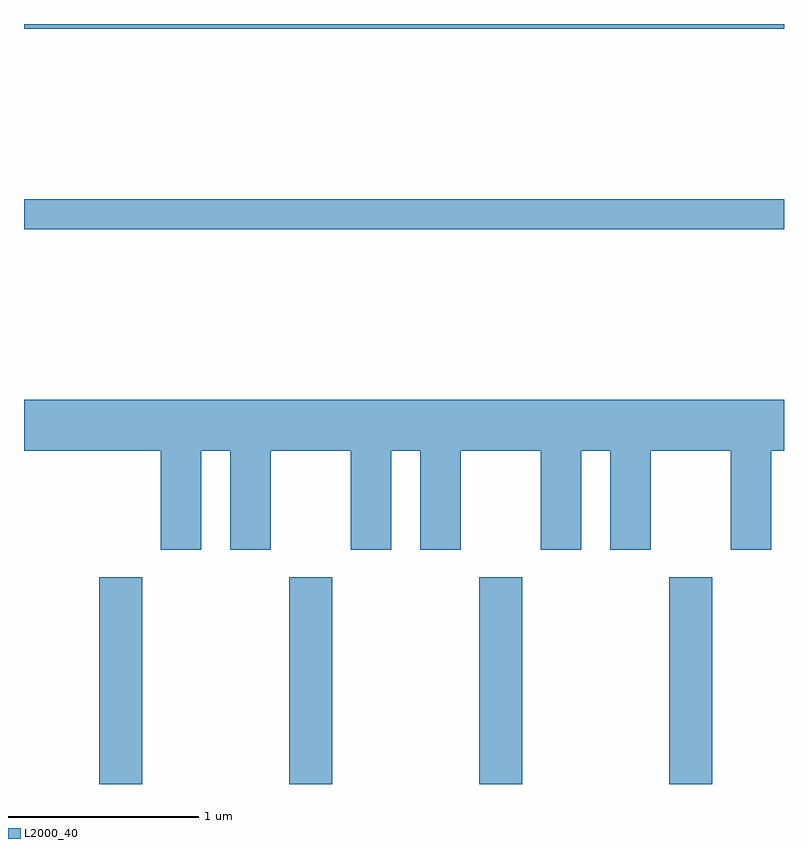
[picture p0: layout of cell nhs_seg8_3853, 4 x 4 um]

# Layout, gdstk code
import gdstk
lib = gdstk.Library(unit=1e-6, precision=1e-09)
def R(c, l, rs):  # rectangles x0, y0, x1, y1
    for r in rs: c.add(gdstk.rectangle(r[:2], r[2:], *l))
def A(c, l, x, y, w, h, nx, ny, dx, dy):  # array of equal rectangles
    R(c, l, [(x+i*dx, y+j*dy, x+i*dx+w, y+j*dy+h) for i in range(nx) for j in range(ny)])
def P(c, l, *ps):  # polygons
    for p in ps: c.add(gdstk.Polygon(p, *l))
L2000_40 = (2000, 40)

nhs_seg8_3853 = lib.new_cell('nhs_seg8_3853')
A(nhs_seg8_3853, L2000_40, 300.006, 1932.342, 0.228, 1.087, 4, 1, 1, 0)
R(nhs_seg8_3853, L2000_40, [(299.611,1935.261,303.611,1935.419), (299.611,1936.316,303.611,1936.342)])
P(nhs_seg8_3853, L2000_40, [(300.544,1934.096),(300.696,1934.096),(300.696,1933.576),(300.909,1933.576),(300.909,1934.096),(301.331,1934.096),(301.331,1933.576),(301.544,1933.576),(301.544,1934.096),(301.696,1934.096),(301.696,1933.576),(301.909,1933.576),(301.909,1934.096),(302.331,1934.096),(302.331,1933.576),(302.544,1933.576),(302.544,1934.096),(302.696,1934.096),(302.696,1933.576),(302.909,1933.576),(302.909,1934.096),(303.331,1934.096),(303.331,1933.576),(303.544,1933.576),(303.544,1934.096),(303.611,1934.096),(303.611,1934.364),(299.611,1934.364),(299.611,1934.096),(300.331,1934.096),(300.331,1933.576),(300.544,1933.576)])

lib.write_gds('nhs_seg8_3853.gds')
